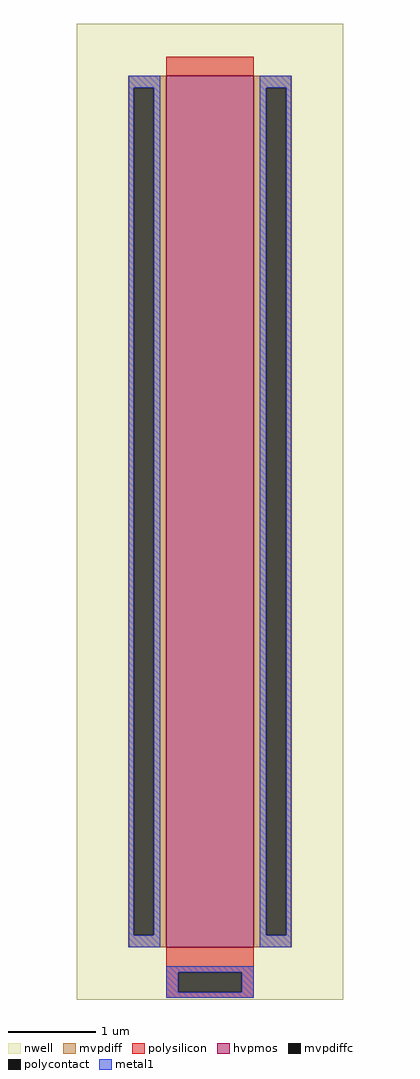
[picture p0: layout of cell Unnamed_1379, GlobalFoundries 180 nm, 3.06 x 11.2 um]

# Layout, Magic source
magic
tech gf180mcuD
magscale 1 10
<< nwell >>
rect -192 -120 420 2120
<< hvpmos >>
rect 14 0 214 2000
<< mvpdiff >>
rect -74 1973 14 2000
rect -74 27 -61 1973
rect -15 27 14 1973
rect -74 0 14 27
rect 214 1973 302 2000
rect 214 27 243 1973
rect 289 27 302 1973
rect 214 0 302 27
<< mvpdiffc >>
rect -61 27 -15 1973
rect 243 27 289 1973
<< polysilicon >>
rect 14 2000 214 2044
rect 14 -57 214 0
rect 14 -103 41 -57
rect 187 -103 214 -57
rect 14 -116 214 -103
<< polycontact >>
rect 41 -103 187 -57
<< metal1 >>
rect -72 1973 0 2000
rect -72 27 -61 1973
rect -15 27 0 1973
rect -72 0 0 27
rect 228 1973 300 2000
rect 228 27 243 1973
rect 289 27 300 1973
rect 228 0 300 27
rect 14 -57 214 -44
rect 14 -103 41 -57
rect 187 -103 214 -57
rect 14 -116 214 -103
<< end >>
